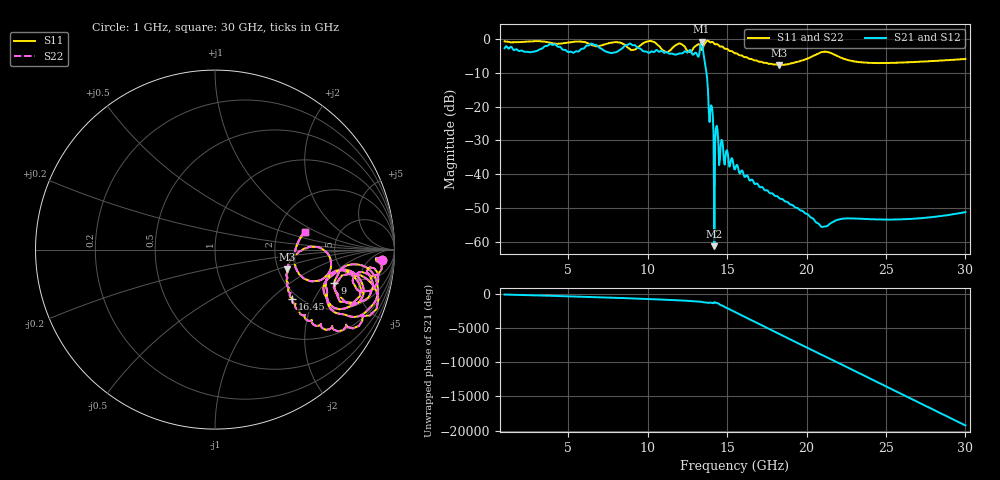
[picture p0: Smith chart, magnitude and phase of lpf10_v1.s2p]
# GHz S RI R 50
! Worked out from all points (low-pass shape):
!   581 points, 1 GHz to 30 GHz, reference 50 ohm
!   highest |S21| = -0.73 dB at 13.4 GHz (marker M1); lowest = -61.3 dB at 14.2 GHz (marker M2)
!   |S21| within 3 dB of the highest: 2.767 GHz to 4.961 GHz (2.194 GHz wide, 56.8 % of centre); 5.431 GHz to 7.424 GHz (1.993 GHz wide, 31 % of centre)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
!   lowest |S11| = -7.6 dB at 18.25 GHz (marker M3), VSWR 2.42, Z = 111 - j29.7 ohm
!   |S11| at or under -10 dB: nowhere
!   |S22| runs from -7.6 to -0.4 dB; largest |S21 - S12| = 0
!   S11 on the Smith chart (normalised r, x): 1 GHz: 16, -14; 9 GHz: 3.57, -2.53; 16.45 GHz: 1.86, -1.37; 30 GHz: 2.86, +0.76
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1  0.9307 -0.0577  0.1712 -0.713  0.1712 -0.713  0.9307 -0.0577
2.5  0.9228 -0.0619  -0.6369 -0.1152  -0.6369 -0.1152  0.9228 -0.0619
3.95  0.8624 -0.1432  -0.0385 0.8358  -0.0385 0.8358  0.8624 -0.1432
5.85  0.8972 -0.1953  0.6074 -0.3919  0.6074 -0.3919  0.8972 -0.1953
6.55  0.7825 -0.2064  -0.0455 -0.8444  -0.0455 -0.8444  0.7825 -0.2064
7.35  0.8344 -0.1297  -0.6072 -0.2573  -0.6072 -0.2573  0.8344 -0.1297
8.4  0.817 -0.2876  -0.5272 0.5061  -0.5272 0.5061  0.817 -0.2876
9  0.665 -0.1853  0.2224 0.7997  0.2224 0.7997  0.665 -0.1853
9.65  0.8424 -0.0984  0.6667 0.1605  0.6667 0.1605  0.8424 -0.0984
10.7  0.7128 -0.3603  0.1483 -0.6365  0.1483 -0.6365  0.7128 -0.3603
11.65  0.7684 -0.1262  -0.5932 -0.0816  -0.5932 -0.0816  0.7684 -0.1262
12.5  0.6232 -0.2621  0.0279 0.6323  0.0279 0.6323  0.6232 -0.2621
13  0.7725 -0.1496  0.6197 0.1255  0.6197 0.1255  0.7725 -0.1496
13.4  0.6611 -0.2083  0.2162 -0.8932  0.2162 -0.8932  0.6611 -0.2083
13.6  0.848 -0.1646  -0.3861 -0.2464  -0.3861 -0.2464  0.848 -0.1646
14.2  0.739 -0.4315  -0.000208 -0.000831  -0.000208 -0.000831  0.739 -0.4315
15.5  0.4994 -0.3661  -0.00639 -0.00984  -0.00639 -0.00984  0.4994 -0.3661
16.45  0.4314 -0.273  -0.00576 -0.00555  -0.00576 -0.00555  0.4314 -0.273
18.25  0.4009 -0.1104  0.00318 -0.00321  0.00318 -0.00321  0.4009 -0.1104
20.35  0.5544 0.0151  0.00105 0.00198  0.00105 0.00198  0.5544 0.0151
25.2  0.4448 -0.0131  0.000621 -0.00203  0.000621 -0.00203  0.4448 -0.0131
30  0.5007 0.0983  -0.00267 -0.000592  -0.00267 -0.000592  0.5007 0.0983
